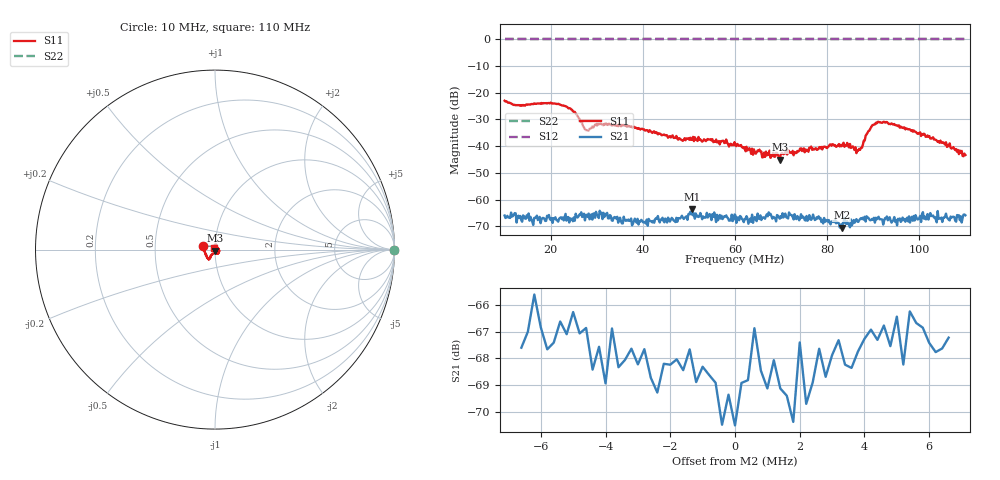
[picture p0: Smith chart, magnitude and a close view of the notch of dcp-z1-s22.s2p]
! Anritsu VNA Master:  Model: MS2034B/10/19/501
! SN:  1337062
! /bd0/ovro-jan-2016/dcp-z1-s22.s2p
! Existing Calibration Information:
! TYPE:  Current Settings,  Active Cal Settings
! TIME:  01/08/2016 09:35:51 PM,  01/08/2016 08:43:08 PM
! INTERNAL TEMP:  42.8 C,  45.0 C
! # POINTS:  500,  500
! START FREQ:  10.000 MHz,  10.000 MHz
! STOP FREQ:  110.000 MHz,  110.000 MHz
! SOURCE POWER:  Low,  Low
! IFBW:  100 Hz,  100 Hz
! AVG FACTOR:  3 ,  3
! REF PLANE 1:  2.2245 m,  2.2245 m
! REF PLANE 2:  0 mm,  0 mm
! CAL TYPE:  1P2P S11,S21,  1P2P S11,S21
! CAL METHOD:  SOLT,  SOLT
! CAL LINE TYPE:  Coax,  Coax
! DUT PORT 1:  K-Conn(M),  K-Conn(M)
! DUT PORT 2:  N-Conn(M),  N-Conn(M)
! CAL STATUS:  OK: Accuracy High,  --
# GHZ S DB R 50.0
! FREQ.GHZ  S11DB  S11A  S21DB  S21A  S12DB  S12A  S22DB  S22A
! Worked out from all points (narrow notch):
!   500 points, 10 MHz to 110 MHz, reference 50 ohm
!   highest |S21| = -63.71 dB at 50.68 MHz (marker M1); lowest = -70.5 dB at 83.15 MHz (marker M2)
!   notch at M2: 3.5 dB deep, 1.11 MHz wide at half that depth
!   lowest |S11| = -45.1 dB at 69.72 MHz (marker M3), VSWR 1.01, Z = 49.9 - j0.544 ohm
!   |S11| at or under -10 dB: start of sweep to end of sweep
!   |S22| runs from 0.0 to 0.0 dB; largest |S21 - S12| = 1
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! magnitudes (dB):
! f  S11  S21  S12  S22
! 10 MHz  -23.0  -66.0  0.0  0.0
! 15.21 MHz  -24.5  -65.2  0.0  0.0
! 15.81 MHz  -24.3  -67.4  0.0  0.0
! 23.03 MHz  -25.0  -66.6  0.0  0.0
! 25.23 MHz  -27.2  -67.9  0.0  0.0
! 26.83 MHz  -31.5  -66.5  0.0  0.0
! 27.84 MHz  -34.1  -65.8  0.0  0.0
! 32.44 MHz  -32.1  -67.0  0.0  0.0
! 37.66 MHz  -33.0  -69.7  0.0  0.0
! 43.47 MHz  -35.2  -67.8  0.0  0.0
! 47.07 MHz  -36.9  -68.4  0.0  0.0
! 50.68 MHz  -37.6  -63.7  0.0  0.0
! 60.1 MHz  -39.8  -65.9  0.0  0.0
! 66.11 MHz  -44.1  -66.6  0.0  0.0
! 67.31 MHz  -43.3  -64.8  0.0  0.0
! 69.72 MHz  -45.1  -67.2  0.0  0.0
! 76.73 MHz  -41.4  -67.0  0.0  0.0
! 83.15 MHz  -40.1  -70.5  0.0  0.0
! 86.75 MHz  -41.7  -68.4  0.0  0.0
! 90.16 MHz  -31.9  -66.8  0.0  0.0
! 93.37 MHz  -31.7  -66.9  0.0  0.0
! 110 MHz  -43.3  -65.9  0.0  0.0
